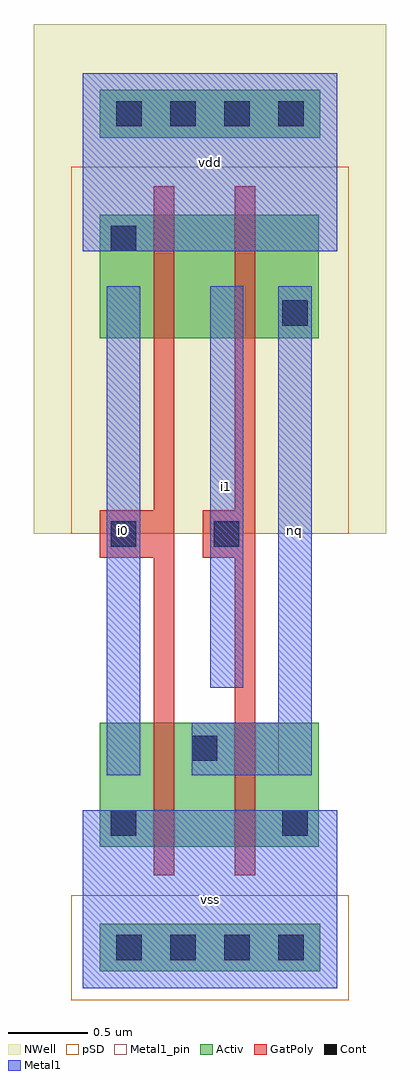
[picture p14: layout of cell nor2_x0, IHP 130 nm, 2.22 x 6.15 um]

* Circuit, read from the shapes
.subckt nor2_x0 i0 i1 nq vdd vss
XM1 nq i0 vss vss sg13_lv_nmos w=0.78u l=0.13u
XM2 vss i1 nq vss sg13_lv_nmos w=0.78u l=0.13u
XM3 n1 i0 vdd vdd sg13_lv_pmos w=0.78u l=0.13u
XM4 nq i1 n1 vdd sg13_lv_pmos w=0.78u l=0.13u
.ends

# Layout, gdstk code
import gdstk
lib = gdstk.Library(unit=1e-6, precision=1e-09)
def R(c, l, rs):  # rectangles x0, y0, x1, y1
    for r in rs: c.add(gdstk.rectangle(r[:2], r[2:], *l))
def P(c, l, *ps):  # polygons
    for p in ps: c.add(gdstk.Polygon(p, *l))
Activ = (1, 0)
GatPoly = (5, 0)
Cont = (6, 0)
Metal1 = (8, 0)
Metal1_pin = (8, 2)
pSD = (14, 0)
NWell = (31, 0)

nor2_x0 = lib.new_cell('nor2_x0')
P(nor2_x0, Activ, [(0.645,4.09),(0.645,4.87),(0.885,4.87),(0.885,4.09),(0.645,4.09)],
  [(0.725,4.09),(0.725,4.87),(0.955,4.87),(0.955,4.09),(0.725,4.09)],
  [(0.58,4.09),(0.58,4.87),(0.95,4.87),(0.95,4.09),(0.58,4.09)],
  [(0.575,4.09),(0.575,4.87),(0.805,4.87),(0.805,4.09),(0.575,4.09)],
  [(0.105,0.89),(0.105,1.67),(0.375,1.67),(0.375,0.89),(0.105,0.89)],
  [(0.105,0.89),(0.105,1.19),(0.405,1.19),(0.405,0.89),(0.105,0.89)],
  [(1.185,0.89),(1.185,1.67),(1.485,1.67),(1.485,0.89),(1.185,0.89)],
  [(0.105,0.105),(0.105,0.405),(1.495,0.405),(1.495,0.105),(0.105,0.105)],
  [(0.105,0.89),(0.105,1.67),(0.405,1.67),(0.405,0.89),(0.105,0.89)],
  [(0.14,0.105),(0.14,0.405),(1.46,0.405),(1.46,0.105),(0.14,0.105)],
  [(0.955,0.89),(0.955,1.67),(1.085,1.67),(1.085,0.89),(0.955,0.89)],
  [(1.085,0.89),(1.085,1.67),(1.315,1.67),(1.315,0.89),(1.085,0.89)],
  [(0.445,0.89),(0.445,1.67),(0.575,1.67),(0.575,0.89),(0.445,0.89)],
  [(1.185,0.89),(1.185,1.19),(1.485,1.19),(1.485,0.89),(1.185,0.89)],
  [(1.155,0.89),(1.155,1.67),(1.485,1.67),(1.485,0.89),(1.155,0.89)],
  [(0.215,0.89),(0.215,1.67),(0.445,1.67),(0.445,0.89),(0.215,0.89)],
  [(0.105,4.57),(0.105,4.87),(0.405,4.87),(0.405,4.57),(0.105,4.57)],
  [(0.105,4.09),(0.105,4.87),(0.375,4.87),(0.375,4.09),(0.105,4.09)],
  [(0.14,5.355),(0.14,5.655),(1.46,5.655),(1.46,5.355),(0.14,5.355)],
  [(0.105,5.355),(0.105,5.655),(1.495,5.655),(1.495,5.355),(0.105,5.355)],
  [(0.445,4.09),(0.445,4.87),(0.575,4.87),(0.575,4.09),(0.445,4.09)],
  [(0.105,4.09),(0.105,4.87),(0.405,4.87),(0.405,4.09),(0.105,4.09)],
  [(0.955,4.09),(0.955,4.87),(1.085,4.87),(1.085,4.09),(0.955,4.09)],
  [(0.215,4.09),(0.215,4.87),(0.445,4.87),(0.445,4.09),(0.215,4.09)],
  [(0.575,0.89),(0.575,1.67),(0.805,1.67),(0.805,0.89),(0.575,0.89)],
  [(0.615,0.89),(0.615,1.67),(0.915,1.67),(0.915,0.89),(0.615,0.89)],
  [(1.185,4.09),(1.185,4.87),(1.485,4.87),(1.485,4.09),(1.185,4.09)],
  [(1.155,4.09),(1.155,4.87),(1.485,4.87),(1.485,4.09),(1.155,4.09)],
  [(0.645,0.89),(0.645,1.67),(0.885,1.67),(0.885,0.89),(0.645,0.89)],
  [(0.725,0.89),(0.725,1.67),(0.955,1.67),(0.955,0.89),(0.725,0.89)],
  [(1.185,4.1),(1.185,4.4),(1.485,4.4),(1.485,4.1),(1.185,4.1)],
  [(1.085,4.09),(1.085,4.87),(1.315,4.87),(1.315,4.09),(1.085,4.09)],
  [(0.615,1.36),(0.615,1.66),(0.915,1.66),(0.915,1.36),(0.615,1.36)])
P(nor2_x0, GatPoly, [(0.955,0.71),(0.955,1.85),(1.085,1.85),(1.085,0.71),(0.955,0.71)],
  [(0.905,2.71),(0.905,3.01),(1.02,3.01),(1.02,2.71),(0.905,2.71)],
  [(0.955,0.71),(0.955,3.91),(1.085,3.91),(1.085,0.71),(0.955,0.71)],
  [(0.955,3.91),(0.955,5.05),(1.085,5.05),(1.085,3.91),(0.955,3.91)],
  [(0.755,2.71),(0.755,3.01),(1.055,3.01),(1.055,2.71),(0.755,2.71)],
  [(0.445,0.71),(0.445,3.91),(0.575,3.91),(0.575,0.71),(0.445,0.71)],
  [(0.255,2.71),(0.255,3.01),(0.51,3.01),(0.51,2.71),(0.255,2.71)],
  [(0.445,0.71),(0.445,1.85),(0.575,1.85),(0.575,0.71),(0.445,0.71)],
  [(0.105,2.71),(0.105,3.01),(0.405,3.01),(0.405,2.71),(0.105,2.71)],
  [(0.445,3.91),(0.445,5.05),(0.575,5.05),(0.575,3.91),(0.445,3.91)])
P(nor2_x0, Cont, [(0.21,0.175),(0.21,0.335),(0.37,0.335),(0.37,0.175),(0.21,0.175)],
  [(0.55,0.175),(0.55,0.335),(0.71,0.335),(0.71,0.175),(0.55,0.175)],
  [(0.89,0.175),(0.89,0.335),(1.05,0.335),(1.05,0.175),(0.89,0.175)],
  [(1.23,0.175),(1.23,0.335),(1.39,0.335),(1.39,0.175),(1.23,0.175)],
  [(0.175,0.96),(0.175,1.12),(0.335,1.12),(0.335,0.96),(0.175,0.96)],
  [(1.255,0.96),(1.255,1.12),(1.415,1.12),(1.415,0.96),(1.255,0.96)],
  [(1.23,5.425),(1.23,5.585),(1.39,5.585),(1.39,5.425),(1.23,5.425)],
  [(0.89,5.425),(0.89,5.585),(1.05,5.585),(1.05,5.425),(0.89,5.425)],
  [(0.55,5.425),(0.55,5.585),(0.71,5.585),(0.71,5.425),(0.55,5.425)],
  [(0.21,5.425),(0.21,5.585),(0.37,5.585),(0.37,5.425),(0.21,5.425)],
  [(0.175,4.64),(0.175,4.8),(0.335,4.8),(0.335,4.64),(0.175,4.64)],
  [(0.685,1.43),(0.685,1.59),(0.845,1.59),(0.845,1.43),(0.685,1.43)],
  [(1.255,4.17),(1.255,4.33),(1.415,4.33),(1.415,4.17),(1.255,4.17)],
  [(0.825,2.78),(0.825,2.94),(0.985,2.94),(0.985,2.78),(0.825,2.78)],
  [(0.175,2.78),(0.175,2.94),(0.335,2.94),(0.335,2.78),(0.175,2.78)])
R(nor2_x0, Metal1, [(0,0,1.6,1.12), (0.15,1.34,0.36,4.42), (1.23,1.34,1.44,4.42), (0.8,1.89,1.01,4.42), (0,4.64,1.6,5.76)])
P(nor2_x0, Metal1, [(0.21,0.095),(0.21,0.415),(1.39,0.415),(1.39,0.095),(0.21,0.095)],
  [(1.175,0.96),(1.175,1.12),(1.495,1.12),(1.495,0.96),(1.175,0.96)],
  [(0,0),(0,1.12),(1.6,1.12),(1.6,0),(0,0)],
  [(0.095,0.96),(0.095,1.12),(0.415,1.12),(0.415,0.96),(0.095,0.96)],
  [(0.21,5.345),(0.21,5.665),(1.39,5.665),(1.39,5.345),(0.21,5.345)],
  [(0.095,4.64),(0.095,4.8),(0.415,4.8),(0.415,4.64),(0.095,4.64)],
  [(0,4.64),(0,5.76),(1.6,5.76),(1.6,4.64),(0,4.64)],
  [(0.765,1.34),(0.765,1.67),(1.335,1.67),(1.335,1.34),(0.765,1.34)],
  [(1.23,1.34),(1.23,4.42),(1.44,4.42),(1.44,1.34),(1.23,1.34)],
  [(0.685,1.34),(0.685,1.67),(0.845,1.67),(0.845,1.34),(0.685,1.34)],
  [(0.685,1.35),(0.685,1.67),(0.845,1.67),(0.845,1.35),(0.685,1.35)],
  [(1.255,4.09),(1.255,4.41),(1.415,4.41),(1.415,4.09),(1.255,4.09)],
  [(1.255,4.09),(1.255,4.42),(1.415,4.42),(1.415,4.09),(1.255,4.09)],
  [(1.23,1.35),(1.23,1.67),(1.44,1.67),(1.44,1.35),(1.23,1.35)],
  [(0.8,1.89),(0.8,4.42),(1.01,4.42),(1.01,1.89),(0.8,1.89)],
  [(0.825,2.7),(0.825,3.02),(0.985,3.02),(0.985,2.7),(0.825,2.7)],
  [(0.15,1.34),(0.15,4.42),(0.36,4.42),(0.36,1.34),(0.15,1.34)],
  [(0.175,2.7),(0.175,3.02),(0.335,3.02),(0.335,2.7),(0.175,2.7)])
R(nor2_x0, Metal1_pin, [(0,0,1.6,1.12), (0,0,1.6,1.12), (0.15,1.34,0.36,4.42), (0.15,1.34,0.36,4.42), (1.23,1.34,1.44,4.42), (1.23,1.34,1.44,4.42), (0.8,1.89,1.01,4.42), (0.8,1.89,1.01,4.42), (0,4.64,1.6,5.76), (0,4.64,1.6,5.76)])
P(nor2_x0, pSD, [(1.005,3.8),(1.005,4.7),(1.665,4.7),(1.665,3.8),(1.005,3.8)],
  [(0.465,3.79),(0.465,5.17),(1.065,5.17),(1.065,3.79),(0.465,3.79)],
  [(-0.04,-0.075),(-0.04,0.585),(1.64,0.585),(1.64,-0.075),(-0.04,-0.075)],
  [(-0.075,3.79),(-0.075,5.17),(0.555,5.17),(0.555,3.79),(-0.075,3.79)],
  [(0.655,3.79),(0.655,5.17),(1.385,5.17),(1.385,3.79),(0.655,3.79)],
  [(-0.075,2.86),(-0.075,5.17),(1.675,5.17),(1.675,2.86),(-0.075,2.86)],
  [(-0.075,3.79),(-0.075,5.17),(0.585,5.17),(0.585,3.79),(-0.075,3.79)],
  [(-0.075,-0.075),(-0.075,0.585),(1.675,0.585),(1.675,-0.075),(-0.075,-0.075)],
  [(0.035,3.91),(0.035,5.05),(0.985,5.05),(0.985,3.91),(0.035,3.91)],
  [(-0.075,4.27),(-0.075,5.17),(0.585,5.17),(0.585,4.27),(-0.075,4.27)],
  [(0.4,3.79),(0.4,5.17),(1.13,5.17),(1.13,3.79),(0.4,3.79)],
  [(1.005,3.79),(1.005,5.17),(1.665,5.17),(1.665,3.79),(1.005,3.79)],
  [(0.145,3.79),(0.145,5.17),(0.875,5.17),(0.875,3.79),(0.145,3.79)],
  [(0.545,3.91),(0.545,5.05),(1.495,5.05),(1.495,3.91),(0.545,3.91)],
  [(0.975,3.79),(0.975,5.17),(1.665,5.17),(1.665,3.79),(0.975,3.79)])
P(nor2_x0, NWell, [(0.875,3.79),(0.875,4.71),(1.795,4.71),(1.795,3.79),(0.875,3.79)],
  [(0.415,3.78),(0.415,5.18),(1.625,5.18),(1.625,3.78),(0.415,3.78)],
  [(-0.205,3.78),(-0.205,5.18),(0.715,5.18),(0.715,3.78),(-0.205,3.78)],
  [(0.335,3.78),(0.335,5.18),(1.195,5.18),(1.195,3.78),(0.335,3.78)],
  [(0.845,3.78),(0.845,5.18),(1.795,5.18),(1.795,3.78),(0.845,3.78)],
  [(-0.17,5.045),(-0.17,5.965),(1.77,5.965),(1.77,5.045),(-0.17,5.045)],
  [(-0.31,2.86),(-0.31,6.07),(1.91,6.07),(1.91,2.86),(-0.31,2.86)],
  [(-0.205,3.78),(-0.205,5.18),(0.685,5.18),(0.685,3.78),(-0.205,3.78)],
  [(-0.205,5.045),(-0.205,5.965),(1.805,5.965),(1.805,5.045),(-0.205,5.045)],
  [(-0.095,3.78),(-0.095,5.18),(1.115,5.18),(1.115,3.78),(-0.095,3.78)],
  [(-0.205,4.26),(-0.205,5.18),(0.715,5.18),(0.715,4.26),(-0.205,4.26)],
  [(0.27,3.78),(0.27,5.18),(1.26,5.18),(1.26,3.78),(0.27,3.78)],
  [(0.875,3.78),(0.875,5.18),(1.795,5.18),(1.795,3.78),(0.875,3.78)])
nor2_x0.add(gdstk.Label('vss', (0.8,0.56), layer=8, texttype=25))
nor2_x0.add(gdstk.Label('vdd', (0.8,5.2), layer=8, texttype=25))
nor2_x0.add(gdstk.Label('nq', (1.335,2.88), layer=8, texttype=25))
nor2_x0.add(gdstk.Label('i1', (0.905,3.155), layer=8, texttype=25))
nor2_x0.add(gdstk.Label('i0', (0.255,2.88), layer=8, texttype=25))

lib.write_gds('nor2_x0.gds')
